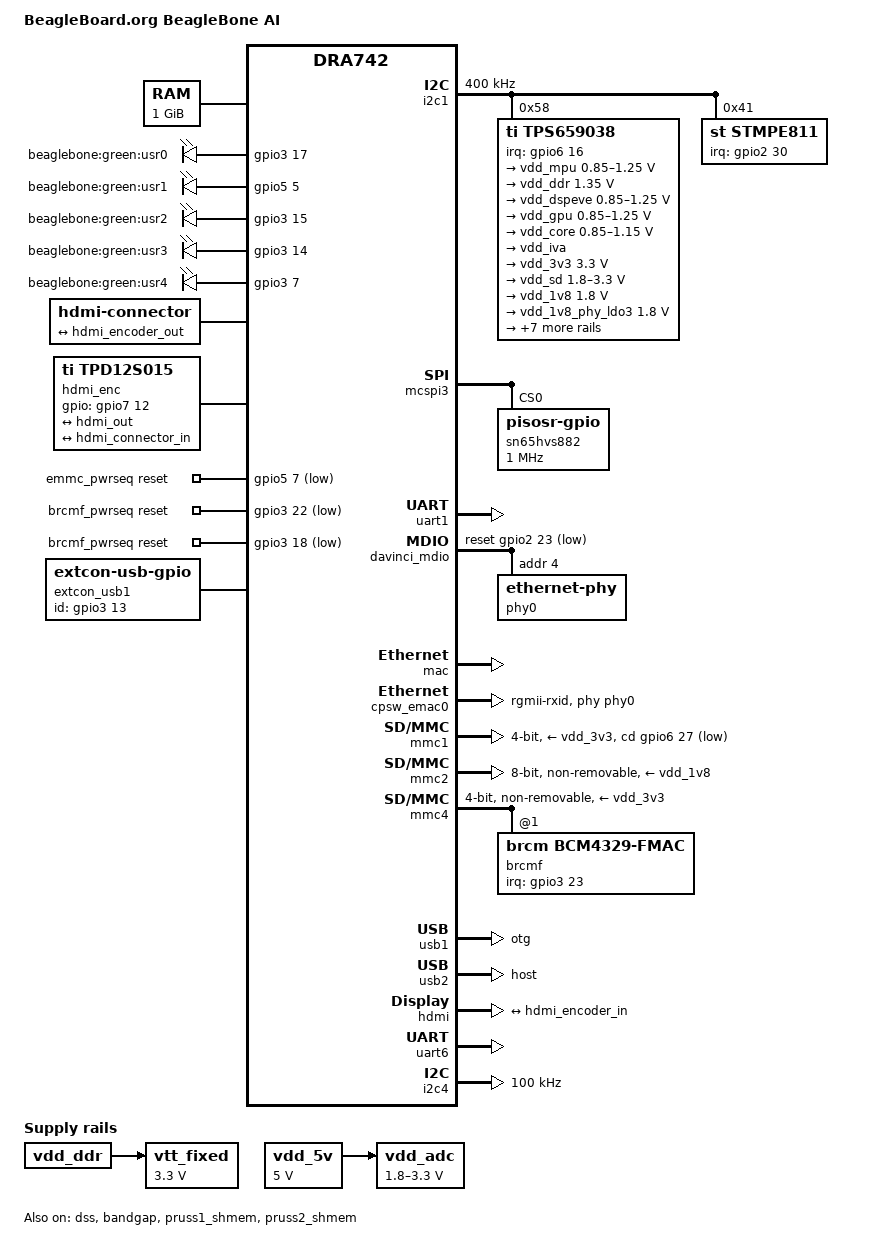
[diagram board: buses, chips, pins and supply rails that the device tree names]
// SPDX-License-Identifier: GPL-2.0
/*
 * Copyright (C) 2014-2019 Texas Instruments Incorporated - http://www.ti.com/
 */

/dts-v1/;

#include "dra74x.dtsi"
#include "am57xx-commercial-grade.dtsi"
#include "dra74x-mmc-iodelay.dtsi"
#include <dt-bindings/gpio/gpio.h>
#include <dt-bindings/interrupt-controller/irq.h>
#include <dt-bindings/pinctrl/dra.h>

/ {
	model = "BeagleBoard.org BeagleBone AI";
	compatible = "beagle,am5729-beagleboneai", "ti,am5728",
		     "ti,dra742", "ti,dra74", "ti,dra7";

	aliases {
		rtc0 = &tps659038_rtc;
		rtc1 = &rtc;
		display0 = &hdmi_conn;
	};

	chosen {
		stdout-path = &uart1;
	};

	memory@0 {
		device_type = "memory";
		reg = <0x0 0x80000000 0x0 0x40000000>;
	};

	reserved-memory {
		#address-cells = <2>;
		#size-cells = <2>;
		ranges;

		ipu2_memory_region: ipu2-memory@95800000 {
			compatible = "shared-dma-pool";
			reg = <0x0 0x95800000 0x0 0x3800000>;
			reusable;
			status = "okay";
		};

		dsp1_memory_region: dsp1-memory@99000000 {
			compatible = "shared-dma-pool";
			reg = <0x0 0x99000000 0x0 0x4000000>;
			reusable;
			status = "okay";
		};

		ipu1_memory_region: ipu1-memory@9d000000 {
			compatible = "shared-dma-pool";
			reg = <0x0 0x9d000000 0x0 0x2000000>;
			reusable;
			status = "okay";
		};

		dsp2_memory_region: dsp2-memory@9f000000 {
			compatible = "shared-dma-pool";
			reg = <0x0 0x9f000000 0x0 0x800000>;
			reusable;
			status = "okay";
		};

	};

	vdd_adc: gpioregulator-vdd_adc {
		compatible = "regulator-gpio";
		regulator-name = "vdd_adc";
		vin-supply = <&vdd_5v>;
		regulator-min-microvolt = <1800000>;
		regulator-max-microvolt = <3300000>;
		regulator-always-on;
		regulator-boot-on;
		gpios = <&gpio3 27 GPIO_ACTIVE_HIGH>;
		states = <1800000 0
			3300000 1>;
	};

	vdd_5v: fixedregulator-vdd_5v {
		compatible = "regulator-fixed";
		regulator-name = "vdd_5v";
		regulator-min-microvolt = <5000000>;
		regulator-max-microvolt = <5000000>;
		regulator-always-on;
		regulator-boot-on;
	};

	vtt_fixed: fixedregulator-vtt {
		/* TPS51200 */
		compatible = "regulator-fixed";
		regulator-name = "vtt_fixed";
		vin-supply = <&vdd_ddr>;
		regulator-min-microvolt = <3300000>;
		regulator-max-microvolt = <3300000>;
		regulator-always-on;
		regulator-boot-on;
	};

	leds {
		compatible = "gpio-leds";

		led0 {
			label = "beaglebone:green:usr0";
			gpios = <&gpio3 17 GPIO_ACTIVE_HIGH>;
			linux,default-trigger = "heartbeat";
			default-state = "off";
		};

		led1 {
			label = "beaglebone:green:usr1";
			gpios = <&gpio5 5 GPIO_ACTIVE_HIGH>;
			linux,default-trigger = "mmc0";
			default-state = "off";
		};

		led2 {
			label = "beaglebone:green:usr2";
			gpios = <&gpio3 15 GPIO_ACTIVE_HIGH>;
			linux,default-trigger = "cpu";
			default-state = "off";
		};

		led3 {
			label = "beaglebone:green:usr3";
			gpios = <&gpio3 14 GPIO_ACTIVE_HIGH>;
			linux,default-trigger = "mmc1";
			default-state = "off";
		};

		led4 {
			label = "beaglebone:green:usr4";
			gpios = <&gpio3 7 GPIO_ACTIVE_HIGH>;
			linux,default-trigger = "netdev";
			default-state = "off";
		};
	};

	hdmi_conn: connector@0 {
		compatible = "hdmi-connector";
		label = "hdmi";
		type = "a";

		port {
			hdmi_connector_in: endpoint {
				remote-endpoint = <&hdmi_encoder_out>;
			};
		};
	};

	hdmi_enc: encoder@0 {
		/* "ti,tpd12s016" software compatible with "ti,tpd12s015"
		 *  no need for individual driver
		 */
		compatible = "ti,tpd12s015";
		gpios = <0>,
			<0>,
			<&gpio7 12 GPIO_ACTIVE_HIGH>;

		ports {
			#address-cells = <0x1>;
			#size-cells = <0x0>;

			port@0 {
				reg = <0x0>;

				hdmi_encoder_in: endpoint@0 {
					remote-endpoint = <&hdmi_out>;
				};
			};

			port@1 {
				reg = <0x1>;

				hdmi_encoder_out: endpoint@0 {
					remote-endpoint = <&hdmi_connector_in>;
				};
			};
		};
	};

	emmc_pwrseq: emmc_pwrseq {
		compatible = "mmc-pwrseq-emmc";
		reset-gpios = <&gpio5 7 GPIO_ACTIVE_LOW>;
	};

	brcmf_pwrseq: brcmf_pwrseq {
		compatible = "mmc-pwrseq-simple";
		reset-gpios = <&gpio3 22 GPIO_ACTIVE_LOW>,	/* BT-REG-ON */
				<&gpio3 18 GPIO_ACTIVE_LOW>;	/* WL-REG-ON */
	};

	extcon_usb1: extcon_usb1 {
		compatible = "linux,extcon-usb-gpio";
		ti,enable-id-detection;
		id-gpio = <&gpio3 13 GPIO_ACTIVE_HIGH>;
	};
};

&i2c1 {
	status = "okay";
	clock-frequency = <400000>;

	tps659038: tps659038@58 {
		compatible = "ti,tps659038";
		reg = <0x58>;
		interrupt-parent = <&gpio6>;
		interrupts = <16 IRQ_TYPE_LEVEL_LOW>;

		#interrupt-cells = <2>;
		interrupt-controller;

		ti,system-power-controller;
		ti,palmas-override-powerhold;

		tps659038_pmic {
			compatible = "ti,tps659038-pmic";

			smps12-in-supply = <&vdd_5v>;
			smps3-in-supply = <&vdd_5v>;
			smps45-in-supply = <&vdd_5v>;
			smps6-in-supply = <&vdd_5v>;
			smps7-in-supply = <&vdd_5v>;
			mps3-in-supply = <&vdd_5v>;
			smps8-in-supply = <&vdd_5v>;
			smps9-in-supply = <&vdd_5v>;
			ldo1-in-supply = <&vdd_5v>;
			ldo2-in-supply = <&vdd_5v>;
			ldo3-in-supply = <&vdd_5v>;
			ldo4-in-supply = <&vdd_5v>;
			ldo9-in-supply = <&vdd_5v>;
			ldoln-in-supply = <&vdd_5v>;
			ldousb-in-supply = <&vdd_5v>;
			ldortc-in-supply = <&vdd_5v>;

			regulators {
				vdd_mpu: smps12 {
					/* VDD_MPU */
					regulator-name = "smps12";
					regulator-min-microvolt = <850000>;
					regulator-max-microvolt = <1250000>;
					regulator-always-on;
					regulator-boot-on;
				};

				vdd_ddr: smps3 {
					/* VDD_DDR EMIF1 EMIF2 */
					regulator-name = "smps3";
					regulator-min-microvolt = <1350000>;
					regulator-max-microvolt = <1350000>;
					regulator-always-on;
					regulator-boot-on;
				};

				vdd_dspeve: smps45 {
					/* VDD_DSPEVE on AM572 */
					regulator-name = "smps45";
					regulator-min-microvolt = < 850000>;
					regulator-max-microvolt = <1250000>;
					regulator-always-on;
					regulator-boot-on;
				};

				vdd_gpu: smps6 {
					/* VDD_GPU */
					regulator-name = "smps6";
					regulator-min-microvolt = < 850000>;
					regulator-max-microvolt = <1250000>;
					regulator-always-on;
					regulator-boot-on;
				};

				vdd_core: smps7 {
					/* VDD_CORE */
					regulator-name = "smps7";
					regulator-min-microvolt = < 850000>;	/*** 1.15V */
					regulator-max-microvolt = <1150000>;
					regulator-always-on;
					regulator-boot-on;
				};

				vdd_iva: smps8 {
					/* VDD_IVAHD */				/*** 1.06V */
					regulator-name = "smps8";
				};

				vdd_3v3: smps9 {
					/* VDD_3V3 */
					regulator-name = "smps9";
					regulator-min-microvolt = <3300000>;
					regulator-max-microvolt = <3300000>;
					regulator-always-on;
					regulator-boot-on;
				};

				vdd_sd: ldo1 {
					/* VDDSHV8 - VSDMMC  */
					regulator-name = "ldo1";
					regulator-min-microvolt = <1800000>;
					regulator-max-microvolt = <3300000>;
					regulator-boot-on;
					regulator-always-on;
				};

				vdd_1v8: ldo2 {
					/* VDDSH18V */
					regulator-name = "ldo2";
					regulator-min-microvolt = <1800000>;
					regulator-max-microvolt = <1800000>;
					regulator-always-on;
					regulator-boot-on;
				};

				vdd_1v8_phy_ldo3: ldo3 {
					/* R1.3a 572x V1_8PHY_LDO3: USB, SATA */
					regulator-name = "ldo3";
					regulator-min-microvolt = <1800000>;
					regulator-max-microvolt = <1800000>;
					regulator-always-on;
					regulator-boot-on;
				};

				vdd_1v8_phy_ldo4: ldo4 {
					/* R1.3a 572x V1_8PHY_LDO4: PCIE, HDMI*/
					regulator-name = "ldo4";
					regulator-min-microvolt = <1800000>;
					regulator-max-microvolt = <1800000>;
					regulator-always-on;
					regulator-boot-on;
				};

				/* LDO5-8 unused */

				vdd_rtc: ldo9 {
					/* VDD_RTC  */
					regulator-name = "ldo9";
					regulator-min-microvolt = < 840000>;
					regulator-max-microvolt = <1160000>;
					regulator-always-on;
					regulator-boot-on;
				};

				vdd_1v8_pll: ldoln {
					/* VDDA_1V8_PLL */
					regulator-name = "ldoln";
					regulator-min-microvolt = <1800000>;
					regulator-max-microvolt = <1800000>;
					regulator-always-on;
					regulator-boot-on;
				};

				ldousb_reg: ldousb {
					/* VDDA_3V_USB: VDDA_USBHS33 */
					regulator-name = "ldousb";
					regulator-min-microvolt = <3300000>;
					regulator-max-microvolt = <3300000>;
					regulator-always-on;
					regulator-boot-on;
				};

				ldortc_reg: ldortc {
					/* VDDA_RTC  */
					regulator-name = "ldortc";
					regulator-min-microvolt = <1800000>;
					regulator-max-microvolt = <1800000>;
					regulator-always-on;
					regulator-boot-on;
				};

				regen1: regen1 {
					/* VDD_3V3_ON */
					regulator-name = "regen1";
					regulator-boot-on;
					regulator-always-on;
				};

				regen2: regen2 {
					/* Needed for PMIC internal resource */
					regulator-name = "regen2";
					regulator-boot-on;
					regulator-always-on;
				};
			};
		};

		tps659038_rtc: tps659038_rtc {
			compatible = "ti,palmas-rtc";
			interrupt-parent = <&tps659038>;
			interrupts = <8 IRQ_TYPE_EDGE_FALLING>;
			wakeup-source;
		};

		tps659038_pwr_button: tps659038_pwr_button {
			compatible = "ti,palmas-pwrbutton";
			interrupt-parent = <&tps659038>;
			interrupts = <1 IRQ_TYPE_EDGE_FALLING>;
			wakeup-source;
			ti,palmas-long-press-seconds = <12>;
		};

		tps659038_gpio: tps659038_gpio {
			compatible = "ti,palmas-gpio";
			gpio-controller;
			#gpio-cells = <2>;
		};
	};

	/* STMPE811 touch screen controller */
	stmpe811@41 {
		compatible = "st,stmpe811";
		reg = <0x41>;
		interrupts = <30 IRQ_TYPE_LEVEL_LOW>;
		interrupt-parent = <&gpio2>;
		interrupt-controller;
		id = <0>;
		blocks = <0x5>;
		irq-trigger = <0x1>;
		st,mod-12b = <1>; /* 12-bit ADC */
		st,ref-sel = <0>; /* internal ADC reference */
		st,adc-freq = <1>; /* 3.25 MHz ADC clock speed */
		st,sample-time = <4>; /* ADC converstion time: 80 clocks */

		stmpe_adc {
			compatible = "st,stmpe-adc";
			st,norequest-mask = <0x00>; /* mask any channels to be used by touchscreen */
			adc0: iio-device@0 {
				#io-channel-cells = <1>;
				iio-channels = <&adc0 4>, <&adc0 1>, <&adc0 2>, <&adc0 3>, <&adc0 4>, <&adc0 5>, <&adc0 6>;
				iio-channel-names = "AIN0_P9_39", "AIN1_P9_40", "AIN2_P9_37", "AIN3_P9_38",
					"AIN4_P9_33", "AIN5_P9_36", "AIN6_P9_35";
			};
		};

		stmpe_touchscreen {
			status = "disabled";
			compatible = "st,stmpe-ts";
			/* 8 sample average control */
			st,ave-ctrl = <3>;
			/* 7 length fractional part in z */
			st,fraction-z = <7>;
			/*
			 * 50 mA typical 80 mA max touchscreen drivers
			 * current limit value
			 */
			st,i-drive = <1>;
			/* 1 ms panel driver settling time */
			st,settling = <3>;
			/* 5 ms touch detect interrupt delay */
			st,touch-det-delay = <5>;
		};

		stmpe_gpio {
			compatible = "st,stmpe-gpio";
		};

		stmpe_pwm {
			compatible = "st,stmpe-pwm";
			#pwm-cells = <2>;
		};
	};
};

&mcspi3 {
	status = "okay";
	ti,pindir-d0-out-d1-in;

	sn65hvs882: sn65hvs882@0 {
		compatible = "pisosr-gpio";
		gpio-controller;
		#gpio-cells = <2>;

		reg = <0>;
		spi-max-frequency = <1000000>;
		spi-cpol;
	};
};

&cpu0 {
	vdd-supply = <&vdd_mpu>;
	voltage-tolerance = <1>;
};

&uart1 {
	status = "okay";
};

&davinci_mdio {
	reset-gpios = <&gpio2 23 GPIO_ACTIVE_LOW>;
	reset-delay-us = <2>;

	phy0: ethernet-phy@1 {
		reg = <4>;
		eee-broken-100tx;
		eee-broken-1000t;
	};
};

&mac {
	slaves = <1>;
	status = "okay";
};

&cpsw_emac0 {
	phy-handle = <&phy0>;
	phy-mode = "rgmii-rxid";
};

&ocp {
	pruss1_shmem: pruss_shmem@4b200000 {
		status = "okay";
		compatible = "ti,pruss-shmem";
		reg = <0x4b200000 0x020000>;
	};

	pruss2_shmem: pruss_shmem@4b280000 {
		status = "okay";
		compatible = "ti,pruss-shmem";
		reg = <0x4b280000 0x020000>;
	};
};

&mmc1 {
	status = "okay";
	vmmc-supply = <&vdd_3v3>;
	vqmmc-supply = <&vdd_sd>;
	bus-width = <4>;
	cd-gpios = <&gpio6 27 GPIO_ACTIVE_LOW>; /* gpio 219 */

	pinctrl-names = "default";
	pinctrl-0 = <&mmc1_pins_default>;
};

&mmc2 {
	status = "okay";
	vmmc-supply = <&vdd_1v8>;
	vqmmc-supply = <&vdd_1v8>;
	bus-width = <8>;
	ti,non-removable;
	non-removable;
	mmc-pwrseq = <&emmc_pwrseq>;

	ti,needs-special-reset;
	dmas = <&sdma_xbar 47>, <&sdma_xbar 48>;
	dma-names = "tx", "rx";

};

&mmc4 {
	/* DS: Default speed (DS) up to 25 MHz, including 1- and 4-bit modes (3.3 V signaling). */
	/* HS: High speed up to 50 MHz (3.3 V signaling). */
	/* SDR12: SDR up to 25 MHz (1.8 V signaling). */
	/* SDR25: SDR up to 50 MHz (1.8 V signaling). */
	/* SDR50: SDR up to 100 MHz (1.8 V signaling). */
	/* SDR104: SDR up to 208 MHz (1.8 V signaling) */
	/* DDR50: DDR up to 50 MHz (1.8 V signaling). */
	status = "okay";

	ti,needs-special-reset;
	vmmc-supply = <&vdd_3v3>;
	cap-power-off-card;
	keep-power-in-suspend;
	bus-width = <4>;
	ti,non-removable;
	non-removable;
	no-1-8-v;
	max-frequency = <24000000>;

	#address-cells = <1>;
	#size-cells = <0>;
	mmc-pwrseq = <&brcmf_pwrseq>;

	brcmf: wifi@1 {
		status = "okay";
		reg = <1>;
		compatible = "brcm,bcm4329-fmac";

		brcm,sd-head-align = <4>;
		brcm,sd_head_align = <4>;
		brcm,sd_sgentry_align = <512>;

		interrupt-parent = <&gpio3>;
		interrupts = <23 IRQ_TYPE_LEVEL_LOW>;
		interrupt-names = "host-wake";
	};
};

&usb2_phy1 {
	phy-supply = <&ldousb_reg>;
};

&usb2_phy2 {
	phy-supply = <&ldousb_reg>;
};

&usb1 {
	status = "okay";
	dr_mode = "otg";
};

&omap_dwc3_1 {
	extcon = <&extcon_usb1>;
};

&usb2 {
	status = "okay";
	dr_mode = "host";
};

&dss {
	status = "okay";
	vdda_video-supply = <&vdd_1v8_pll>;
};

&hdmi {
	status = "okay";
	vdda-supply = <&vdd_1v8_phy_ldo4>;

	port {
		hdmi_out: endpoint {
			remote-endpoint = <&hdmi_encoder_in>;
		};
	};
};

&bandgap {
	status = "okay";
};

&mailbox1 {
	status = "okay";
};

&mailbox2 {
	status = "okay";
};

&mailbox3 {
	status = "okay";
};

&mailbox4 {
	status = "okay";
};

&mailbox5 {
	status = "okay";
};

&mailbox6 {
	status = "okay";
};

&mailbox7 {
	status = "okay";
};

&mailbox8 {
	status = "okay";
};

&mailbox9 {
	status = "okay";
};

&mailbox10 {
	status = "okay";
};

&mailbox11 {
	status = "okay";
};

&mailbox12 {
	status = "okay";
};

&mailbox13 {
	status = "okay";
};

&cpu_alert0 {
	temperature = <55000>; /* milliCelsius */
};

&cpu_crit {
	temperature = <85000>; /* milliCelsius */
};

&gpu_crit {
	temperature = <85000>; /* milliCelsius */
};

&core_crit {
	temperature = <85000>; /* milliCelsius */
};

&dspeve_crit {
	temperature = <85000>; /* milliCelsius */
};

&iva_crit {
	temperature = <85000>; /* milliCelsius */
};

&sata {
	status = "disabled";
};

&sata_phy {
	status = "disabled";
};

/* bluetooth */
&uart6 {
	status = "okay";
};

/* cape header stuff */
&i2c4 {
	status = "okay";
	clock-frequency = <100000>;
};

&cpu0_opp_table {
	opp_slow-500000000 {
		opp-shared;
	};
};
